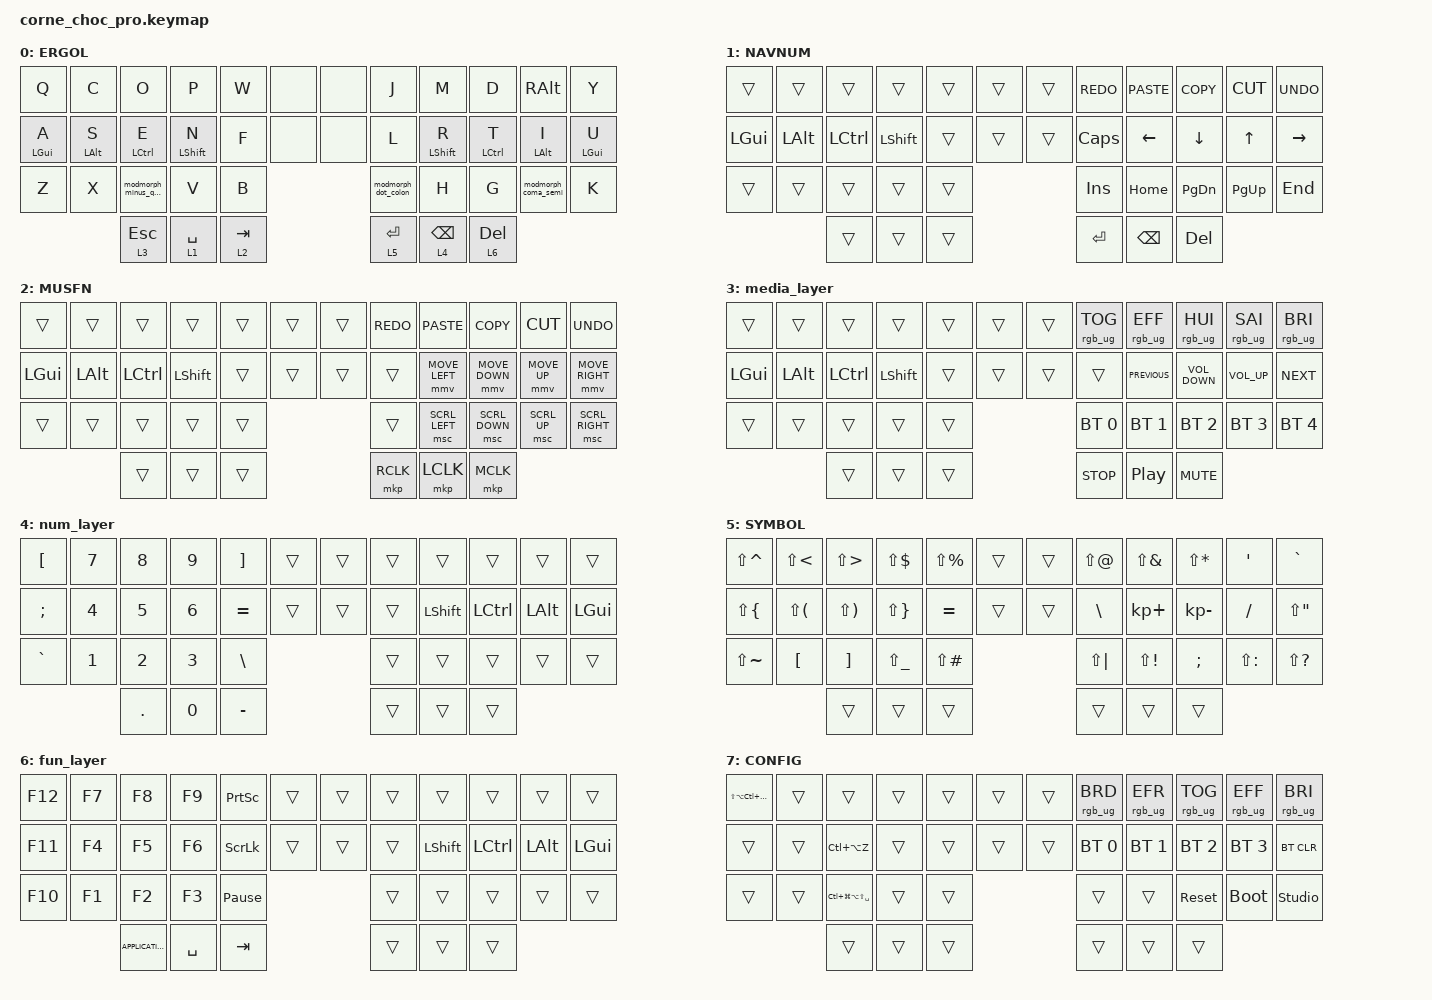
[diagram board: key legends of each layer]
/*
 * Copyright (c) 2020 The ZMK Contributors
 *
 * SPDX-License-Identifier: MIT
 */

#include <behaviors.dtsi>
#include <dt-bindings/zmk/bt.h>
#include <dt-bindings/zmk/keys.h>
#include <dt-bindings/zmk/pointing.h>
#include <dt-bindings/zmk/rgb.h>

/ {
    chosen { zmk,physical-layout = &five_col_layout; };
};

/ {
    combos { compatible = "zmk,combos"; };

    behaviors {
        modmorph_minus_qmark: modmorph_minus_qmark {
            compatible = "zmk,behavior-mod-morph";
            label = "MODMORPH_MINUS_QMARK";
            bindings = <&kp MINUS>, <&kp QMARK>;

            #binding-cells = <0>;
            mods = <(MOD_LSFT)>;
        };

        modmorph_dot_colon: modmorph_dot_colon {
            compatible = "zmk,behavior-mod-morph";
            label = "MODMORPH_DOT_COLON";
            bindings = <&kp DOT>, <&kp COLON>;

            #binding-cells = <0>;
            mods = <(MOD_LSFT)>;
        };

        modmorph_coma_semi: modmorph_coma_semi {
            compatible = "zmk,behavior-mod-morph";
            label = "MODMORPH_COMA_SEMI";
            bindings = <&kp COMMA>, <&kp SEMI>;

            #binding-cells = <0>;
            mods = <(MOD_LSFT)>;
        };
    };

    keymap {
        compatible = "zmk,keymap";

        default_layer {
            display-name = "ERGOL";

            // ------------------------------------------------------------------------------
            // |  Q  |  W  |  E  |  R  |  T  |  MUTE |  PP   |  Y  |  U   |  I  |  O  |  P  |
            // |  A  |  S  |  D  |  F  |  G  |  LALT |  RALT |  H  |  J   |  K  |  L  |  ;  |
            // |  Z  |  X  |  C  |  V  |  B  |               |  N  |  M   |  ,  |  .  |  /  |
            //                    | GUI | LWR | SPC |               | ENT | RSE  | ALT |

            bindings = <
  &kp Q       &kp C       &kp O                  &kp P         &kp W      &none  &none  &kp J                &kp M            &kp D         &kp RIGHT_ALT        &kp Y
  &mt LGUI A  &mt LALT S  &mt LCTRL E            &mt LSHIFT N  &kp F      &none  &none  &kp L                &mt LSHIFT R     &mt LCTRL T   &mt LALT I           &mt LGUI U
  &kp Z       &kp X       &modmorph_minus_qmark  &kp V         &kp B                    &modmorph_dot_colon  &kp H            &kp G         &modmorph_coma_semi  &kp K
                          &lt 3 ESCAPE           &lt 1 SPACE   &lt 2 TAB                &lt 5 ENTER          &lt 4 BACKSPACE  &lt 6 DELETE
            >;
        };

        nav_layer {
            display-name = "NAVNUM";

            // --------------------------------------------------------------------------------
            // |  1  |  2  |  3  |  4  |  5    |  LCTRL | RCTRL |  6  |  7  |  8  |  9  |  0  |
            // | BT1 | BT2 | BT3 | BT4 | BT5   |  LALT  | RALT  | LFT | DWN |  UP | RGT |     |
            // | BTCR| RGB | RST | BOOT| Unlock|        |       |     |     |     |     |     |
            //                    | GUI |     | SPC   |        | ENT   |     | ALT |

            bindings = <
  &trans    &trans    &trans     &trans     &trans  &trans  &trans  &kp K_REDO    &kp K_PASTE     &kp K_COPY      &kp K_CUT     &kp K_UNDO
  &kp LGUI  &kp LALT  &kp LCTRL  &kp LSHFT  &trans  &trans  &trans  &kp CAPSLOCK  &kp LEFT_ARROW  &kp DOWN_ARROW  &kp UP_ARROW  &kp RIGHT_ARROW
  &trans    &trans    &trans     &trans     &trans                  &kp INSERT    &kp HOME        &kp PAGE_DOWN   &kp PAGE_UP   &kp END
                      &trans     &trans     &trans                  &kp ENTER     &kp BACKSPACE   &kp DELETE
            >;
        };

        mouse_layer {
            bindings = <
  &trans    &trans    &trans     &trans      &trans  &trans  &trans  &kp K_REDO  &kp K_PASTE     &kp K_COPY      &kp K_CUT     &kp K_UNDO
  &kp LGUI  &kp LALT  &kp LCTRL  &kp LSHIFT  &trans  &trans  &trans  &trans      &mmv MOVE_LEFT  &mmv MOVE_DOWN  &mmv MOVE_UP  &mmv MOVE_RIGHT
  &trans    &trans    &trans     &trans      &trans                  &trans      &msc SCRL_LEFT  &msc SCRL_DOWN  &msc SCRL_UP  &msc SCRL_RIGHT
                      &trans     &trans      &trans                  &mkp RCLK   &mkp LCLK       &mkp MCLK
            >;

            label = "MUSFN";
        };

        media_layer {
            bindings = <
  &trans    &trans    &trans     &trans     &trans  &trans  &trans  &rgb_ug RGB_TOG  &rgb_ug RGB_EFF   &rgb_ug RGB_HUI    &rgb_ug RGB_SAI  &rgb_ug RGB_BRI
  &kp LGUI  &kp LALT  &kp LCTRL  &kp LSHFT  &trans  &trans  &trans  &trans           &kp C_PREVIOUS    &kp C_VOLUME_DOWN  &kp C_VOLUME_UP  &kp C_NEXT
  &trans    &trans    &trans     &trans     &trans                  &bt BT_SEL 0     &bt BT_SEL 1      &bt BT_SEL 2       &bt BT_SEL 3     &bt BT_SEL 4
                      &trans     &trans     &trans                  &kp C_STOP       &kp C_PLAY_PAUSE  &kp C_MUTE
            >;
        };

        num_layer {
            bindings = <
  &kp LBKT   &kp N7  &kp N8   &kp N9  &kp RBKT   &trans  &trans  &trans  &trans     &trans     &trans    &trans
  &kp SEMI   &kp N4  &kp N5   &kp N6  &kp EQUAL  &trans  &trans  &trans  &kp LSHFT  &kp LCTRL  &kp LALT  &kp LGUI
  &kp GRAVE  &kp N1  &kp N2   &kp N3  &kp BSLH                   &trans  &trans     &trans     &trans    &trans
                     &kp DOT  &kp N0  &kp MINUS                  &trans  &trans     &trans
            >;
        };

        symbol_layer {
            display-name = "SYMBOL";
            bindings = <
  &kp LS(CARET)  &kp LS(LT)    &kp LS(GT)    &kp LS(DLLR)   &kp LS(PRCNT)  &trans  &trans  &kp LS(AT)    &kp LS(AMPS)  &kp LS(STAR)  &kp SQT        &kp GRAVE
  &kp LS(LBRC)   &kp LS(LPAR)  &kp LS(RPAR)  &kp LS(RBRC)   &kp EQUAL      &trans  &trans  &kp BSLH      &kp KP_PLUS   &kp KP_MINUS  &kp FSLH       &kp LS(DQT)
  &kp LS(TILDE)  &kp LBKT      &kp RBKT      &kp LS(UNDER)  &kp LS(POUND)                  &kp LS(PIPE)  &kp LS(EXCL)  &kp SEMI      &kp LS(COLON)  &kp LS(QMARK)
                               &trans        &trans         &trans                         &trans        &trans        &trans
            >;
        };

        fun_layer {
            bindings = <
  &kp F12  &kp F7  &kp F8             &kp F9     &kp PRINTSCREEN  &trans  &trans  &trans  &trans     &trans     &trans    &trans
  &kp F11  &kp F4  &kp F5             &kp F6     &kp SCROLLLOCK   &trans  &trans  &trans  &kp LSHFT  &kp LCTRL  &kp LALT  &kp LGUI
  &kp F10  &kp F1  &kp F2             &kp F3     &kp PAUSE_BREAK                  &trans  &trans     &trans     &trans    &trans
                   &kp K_APPLICATION  &kp SPACE  &kp TAB                          &trans  &trans     &trans
            >;
        };

        config_layer {
            display-name = "CONFIG";
            bindings = <
  &kp LS(LA(LC(LG(W))))  &trans  &trans                     &trans  &trans  &trans  &trans  &rgb_ug RGB_BRD  &rgb_ug RGB_EFR  &rgb_ug RGB_TOG  &rgb_ug RGB_EFF  &rgb_ug RGB_BRI
  &trans                 &trans  &kp LC(LA(Z))              &trans  &trans  &trans  &trans  &bt BT_SEL 0     &bt BT_SEL 1     &bt BT_SEL 2     &bt BT_SEL 3     &bt BT_CLR
  &trans                 &trans  &kp LC(LG(LA(LS(SPACE))))  &trans  &trans                  &trans           &trans           &sys_reset       &bootloader      &studio_unlock
                                 &trans                     &trans  &trans                  &trans           &trans           &trans
            >;
        };
    };
};
